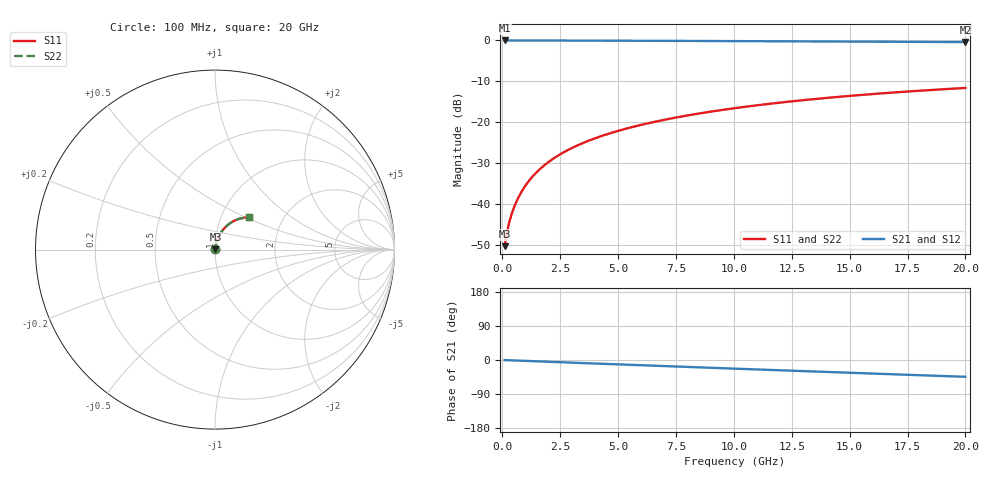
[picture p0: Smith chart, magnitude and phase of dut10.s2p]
! Touchstone file exported from HFSS 2026.1.0
!  File:  C:/ffzhzh/LocalFiles/Ansys_Project_Files/temp_test_BSMRDL_10_1782907337_13352.aedt
!  Generated:  08:03:34 PM Jul  1, 2026
!  Design:  BSMRDL
!  Project:  temp_test_BSMRDL_10_1782907337_13352
! Variables:
!  h_bsmrdl = 4.66um
!  h_ox = 20um
!  h_rdl = 5um
!  h_sub = 80um
!  h_tmrdl = 5um
!  h_tsv = 80um
!  h_via = 3um
!  l_bsmrdl = 729.4um
!  l_sub = 1129.4um
!  l_tmrdl = 200um
!  m_sub = 200um
!  pitch = 42.49um
!  r_tsv = 6um
!  s_tmrdl = 10um
!  w_bsmrdl = 26.64um
!  w_sub = 500um
!  w_tmrdl = 12um
!  x_tsv_center1 = 206um
!  x_tsv_center2 = 962.04um
!  x_tsv_center3 = 1174.04um
!  x_tsv_center4 = 1930.08um
!  x_tsv_center5 = 2142.08um
!  x_tsv_center6 = 2898.12um
# GHz S MA R 50.000000
! Terminal data exported
! Port[1] = BSM_RDL1_1_T1
! Port[2] = BSM_RDL1_1_T2
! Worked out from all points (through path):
!   200 points, 100 MHz to 20 GHz, reference 50 ohm
!   highest |S21| = -0.02 dB at 100 MHz (marker M1); lowest = -0.4 dB at 20 GHz (marker M2)
!   group delay of S21, straight-line fit = 6.14 ps
!   lowest |S11| = -50.3 dB at 100 MHz (marker M3), VSWR 1.01, Z = 50.2 + j0.195 ohm
!   |S11| at or under -10 dB: start of sweep to end of sweep
!   |S22| runs from -50.3 to -11.6 dB; largest |S21 - S12| = 3.3e-15
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0.1  0.003046 39.6  0.9977 -0.3  0.9977 -0.3  0.003046 39.6
! Gamma 0 0 0 0
! Port Impedance 50 0 50 0
0.2  0.0045 54.5  0.9974 -0.5  0.9974 -0.5  0.0045 54.5
0.3  0.005974 61.8  0.9972 -0.7  0.9972 -0.7  0.005974 61.8
0.4  0.007458 66.4  0.9971 -1.0  0.9971 -1.0  0.007458 66.4
0.5  0.008967 69.6  0.997 -1.2  0.997 -1.2  0.008967 69.6
0.6  0.0105 71.9  0.9969 -1.4  0.9969 -1.4  0.0105 71.9
0.8  0.01361 74.9  0.9968 -1.9  0.9968 -1.9  0.01361 74.9
1.1  0.01835 77.2  0.9966 -2.6  0.9966 -2.6  0.01835 77.2
1.3  0.02153 77.9  0.9964 -3.1  0.9964 -3.1  0.02153 77.9
1.6  0.02629 78.5  0.9961 -3.8  0.9961 -3.8  0.02629 78.5
2.1  0.03419 78.5  0.9955 -4.9  0.9955 -4.9  0.03419 78.5
2.7  0.04356 77.9  0.9947 -6.3  0.9947 -6.3  0.04356 77.9
3.5  0.05585 76.6  0.9934 -8.2  0.9934 -8.2  0.05585 76.7
4.2  0.06639 75.3  0.9922 -9.8  0.9922 -9.8  0.06639 75.4
5  0.07823 73.8  0.9906 -11.6  0.9906 -11.6  0.07823 73.8
5.9  0.09129 72.0  0.9889 -13.6  0.9889 -13.6  0.09129 72.0
6.8  0.1041 70.2  0.987 -15.6  0.987 -15.6  0.1041 70.2
8.3  0.1249 67.1  0.9837 -19.0  0.9837 -19.0  0.1249 67.2
10.1  0.1491 63.4  0.9795 -23.0  0.9795 -23.0  0.1491 63.5
13.4  0.1907 56.6  0.9711 -30.2  0.9711 -30.2  0.1907 56.7
16.7  0.2284 49.8  0.9621 -37.3  0.9621 -37.3  0.2285 49.9
20  0.2619 43.1  0.953 -44.3  0.953 -44.3  0.262 43.2
